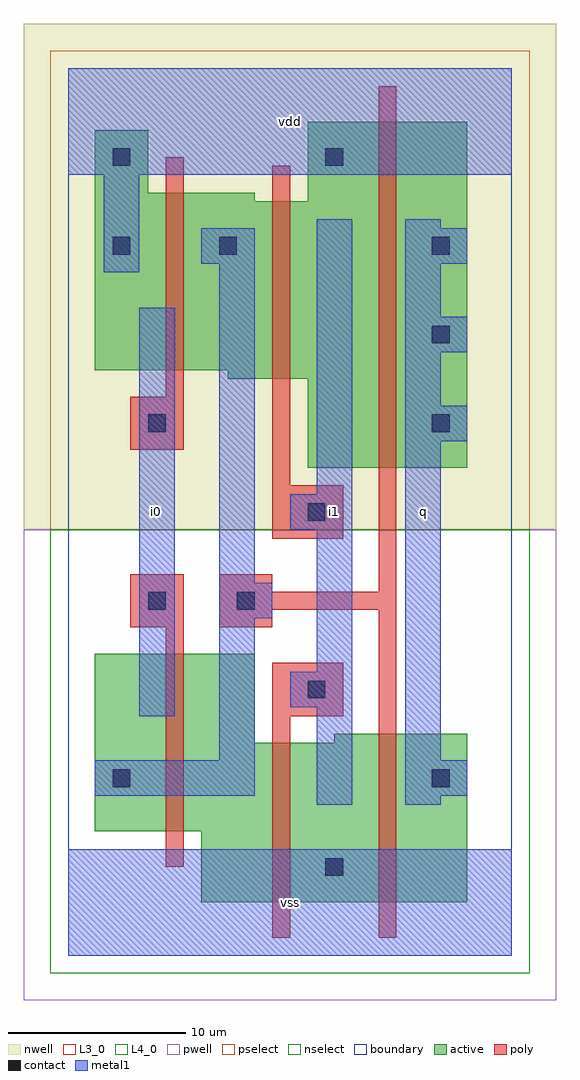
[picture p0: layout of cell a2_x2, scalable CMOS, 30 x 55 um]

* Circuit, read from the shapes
.subckt a2_x2 i0 i1 q vdd vss
M1 n1 i0 n2 VSUBS nfet w=10u l=1u
M2 vss i1 n1 VSUBS nfet w=9u l=1u
M3 q n2 vss VSUBS nfet w=9.5u l=1u
M4 n2 i0 vdd n3 pfet w=10u l=1u
M5 vdd i1 n2 n3 pfet w=10u l=1u
M6 q n2 vdd n3 pfet w=19.5u l=1u
.ends

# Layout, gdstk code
import gdstk
lib = gdstk.Library(unit=1e-6, precision=1e-09)
def R(c, l, rs):  # rectangles x0, y0, x1, y1
    for r in rs: c.add(gdstk.rectangle(r[:2], r[2:], *l))
def A(c, l, x, y, w, h, nx, ny, dx, dy):  # array of equal rectangles
    R(c, l, [(x+i*dx, y+j*dy, x+i*dx+w, y+j*dy+h) for i in range(nx) for j in range(ny)])
L3_0 = (3, 0)
L4_0 = (4, 0)
contact = (25, 0)
pwell = (41, 0)
nwell = (42, 0)
active = (43, 0)
pselect = (44, 0)
nselect = (45, 0)
poly = (46, 0)
metal1 = (49, 0)
boundary = (63, 0)

a2_x2 = lib.new_cell('a2_x2')
R(a2_x2, L3_0, [(7.5,3,22.5,7), (1.5,7,22.5,12), (1.5,12,10.5,17), (15,12,22.5,12.5)])
R(a2_x2, L4_0, [(13.5,27.5,22.5,32.5), (9,32.5,22.5,33), (1.5,33,22.5,42.5), (1.5,42.5,10.5,43), (13.5,42.5,22.5,47), (1.5,43,4.5,46.5)])
A(a2_x2, contact, 20.5, 29.5, 1, 1, 1, 3, 0, 5)
R(a2_x2, contact, [(14.5,4.5,15.5,5.5), (2.5,9.5,3.5,10.5), (20.5,9.5,21.5,10.5), (13.5,14.5,14.5,15.5), (4.5,19.5,5.5,20.5), (9.5,19.5,10.5,20.5), (13.5,24.5,14.5,25.5), (4.5,29.5,5.5,30.5), (2.5,39.5,3.5,40.5), (8.5,39.5,9.5,40.5), (2.5,44.5,3.5,45.5), (14.5,44.5,15.5,45.5)])
R(a2_x2, pwell, [(-2.5,-2.5,27.5,24)])
R(a2_x2, nwell, [(-2.5,24,27.5,52.5)])
R(a2_x2, active, [(7.5,3,22.5,7), (1.5,7,22.5,12), (1.5,12,10.5,17), (15,12,22.5,12.5), (13.5,27.5,22.5,32.5), (9,32.5,22.5,33), (1.5,33,22.5,42.5), (1.5,42.5,10.5,43), (13.5,42.5,22.5,47), (1.5,43,4.5,46.5)])
R(a2_x2, pselect, [(-1,24,26,51)])
R(a2_x2, nselect, [(-1,-1,26,24)])
R(a2_x2, poly, [(11.5,1,12.5,13.5), (17.5,1,18.5,19.5), (5.5,5,6.5,18.5), (11.5,13.5,15.5,16.5), (3.5,18.5,6.5,21.5), (8.5,18.5,11.5,19.5), (8.5,19.5,18.5,20.5), (8.5,20.5,11.5,21.5), (17.5,20.5,18.5,49), (11.5,23.5,15.5,26.5), (11.5,26.5,12.5,44.5), (3.5,28.5,6.5,31.5), (5.5,31.5,6.5,45)])
R(a2_x2, metal1, [(0,0,25,6), (0,0,25,6), (14,8.5,16,14), (14,8.5,16,14), (19,8.5,21,9), (19,8.5,21,9), (1.5,9,10.5,11), (1.5,9,10.5,11), (19,9,22.5,11), (19,9,22.5,11), (8.5,11,10.5,19), (8.5,11,10.5,19), (19,11,21,29), (19,11,21,29), (4,13.5,6,36.5), (4,13.5,6,36.5), (12.5,14,16,16), (12.5,14,16,16), (14,16,16,24), (14,16,16,24), (8.5,19,11.5,21), (8.5,19,11.5,21), (8.5,21,10.5,39), (8.5,21,10.5,39), (12.5,24,16,26), (12.5,24,16,26), (14,26,16,41.5), (14,26,16,41.5), (19,29,22.5,31), (19,29,22.5,31), (19,31,21,34), (19,31,21,34), (19,34,22.5,36), (19,34,22.5,36), (19,36,21,39), (19,36,21,39), (2,38.5,4,44), (2,38.5,4,44), (7.5,39,10.5,41), (7.5,39,10.5,41), (19,39,22.5,41), (19,39,22.5,41), (19,41,21,41.5), (19,41,21,41.5), (0,44,25,50), (0,44,25,50)])
R(a2_x2, boundary, [(0,0,25,50)])
a2_x2.add(gdstk.Label('i0', (5,25), layer=49, texttype=0))
a2_x2.add(gdstk.Label('vss', (12.5,3), layer=49, texttype=0))
a2_x2.add(gdstk.Label('i1', (15,25), layer=49, texttype=0))
a2_x2.add(gdstk.Label('vdd', (12.5,47), layer=49, texttype=0))
a2_x2.add(gdstk.Label('q', (20,25), layer=49, texttype=0))

lib.write_gds('a2_x2.gds')
